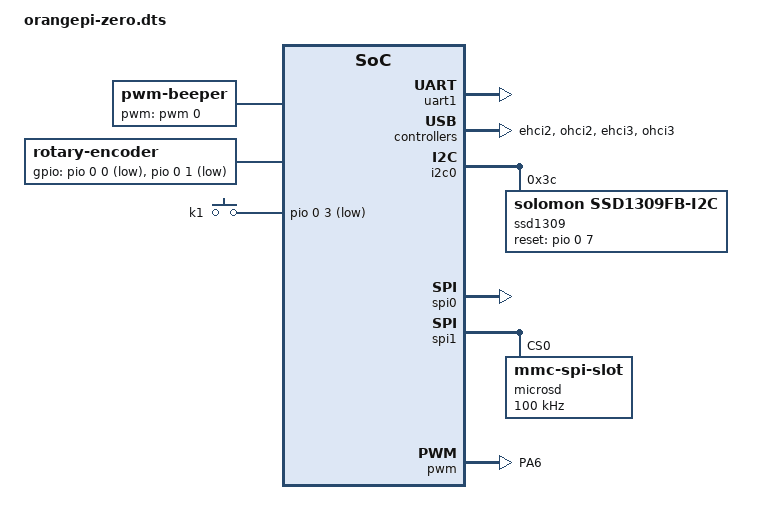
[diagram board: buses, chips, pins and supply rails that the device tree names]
#include <sun8i-h2-plus-orangepi-zero.dts>

/ {
    aliases {
        serial1 = &uart1;
    };

    beeper {
        pwm-names = "opinicus-board-beeper";
        compatible = "pwm-beeper";
        pwms = <&pwm 0 500000 0>;
        status = "okay";
    };

    rotary {
        pinctrl-names = "default";
        pinctrl-0 = <&rotary_pins_opinicus>;
        compatible = "rotary-encoder";
        gpios = <&pio 0 0 GPIO_ACTIVE_LOW>, <&pio 0 1 GPIO_ACTIVE_LOW>;
        linux,axis = <8>;
        rotary-encoder,relative-axis;
        rotary-encoder,steps-per-period = <4>;
        status = "okay";
    };

    gpio_keys {
        compatible = "gpio-keys";
        input-name = "k1";
        pinctrl-names = "default";
        pinctrl-0 = <&rotary_push>;

        k1@0 {
            label = "k1";
            linux,code = <KEY_ENTER>;
            gpios = <&pio 0 3 GPIO_ACTIVE_LOW>;
        };
    };
};

&uart1 {
    pinctrl-names = "default";
    pinctrl-0 = <&uart1_pins>;
    status = "okay";
};

&ehci2 {
    status = "okay";
};

&ohci2 {
    status = "okay";
};

&ehci3 {
    status = "okay";
};

&ohci3 {
    status = "okay";
};

&i2c0 {
    status = "okay";
    ssd1309: oled@3c {
        compatible = "solomon,ssd1309fb-i2c";
        pinctrl-names = "default";
        pinctrl-0 = <&oled_pins_opinicus>;
        reset-gpios = <&pio 0 7 GPIO_ACTIVE_HIGH>;
        reg = <0x3c>;
        solomon,width = <128>;
        solomon,height = <64>;
        solomon,com-invdir;
        solomon,page-offset = <0>;
        solomon,prechargep1 = <2>;
        solomon,prechargep2 = <8>;
    };
/*
    ssd1306: oled@3c {
        compatible = "solomon,ssd1306fb-i2c";
        pinctrl-names = "default";
        pinctrl-0 = <&oled_pins_opinicus>;
        reset-gpios = <&pio 0 7 GPIO_ACTIVE_HIGH>;
        reg = <0x3c>;
        solomon,width = <128>;
        solomon,height = <32>;
        solomon,com-invdir;
        solomon,com-seq;
        solomon,page-offset = <0>;
        solomon,prechargep1 = <2>;
        solomon,prechargep2 = <8>;
    };
*/
};

&pio {
    oled_pins_opinicus: oled_pins@0 {
        pins = "PA7";
        function = "gpio_out";
        bias-pull-down;
    };

    rotary_pins_opinicus: rotary_pins@0 {
        pins = "PA0", "PA1";
        function = "gpio_in";
        bias-pull-up;
    };
    
    pwm1_pins_a: pwm1@0 {
        pins = "PA6";
        function = "pwm";
    };

    rotary_push: key_pins@0 {
        pins = "PA3";
        function = "gpio_in";
        bias-pull-up;
    };
};

&spi0 {
    status = "okay";
};

&spi1 {
    status = "okay";
    
    microsd@0 {
        compatible = "mmc-spi-slot";
        spi-max-frequency = <100000>;
        voltage-ranges = <3200 3400>;
        broken-cd;
        reg = <0>;
    };
};

&pwm {
    pinctrl-names = "default";
    pinctrl-0 = <&pwm1_pins_a>;
    status = "okay";
};
